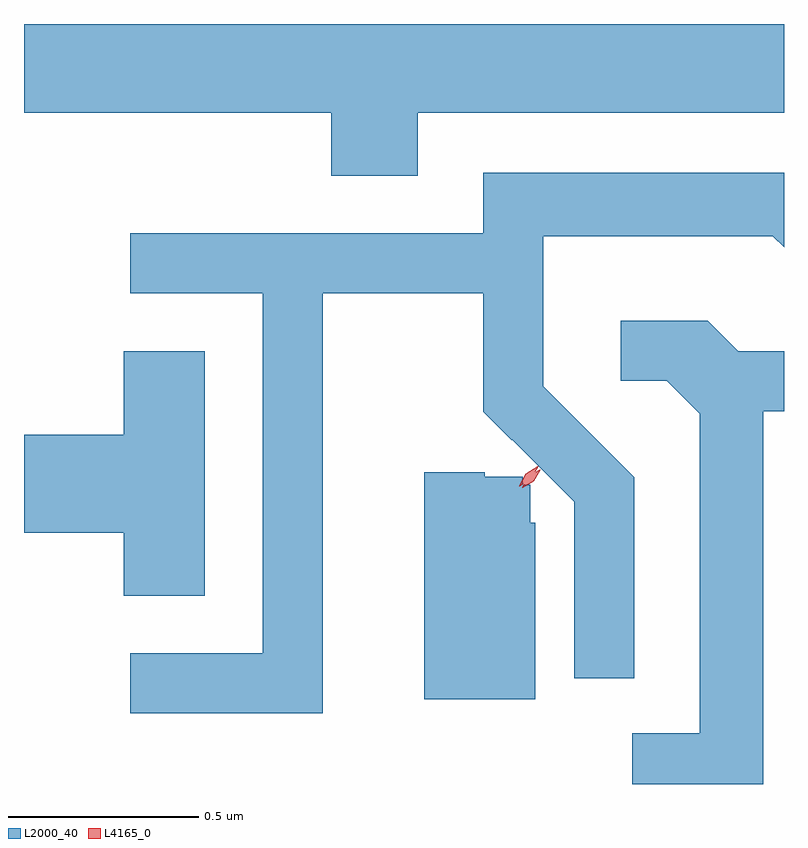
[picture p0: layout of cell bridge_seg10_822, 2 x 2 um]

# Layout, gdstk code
import gdstk
lib = gdstk.Library(unit=1e-6, precision=1e-09)
def P(c, l, *ps):  # polygons
    for p in ps: c.add(gdstk.Polygon(p, *l))
L2000_40 = (2000, 40)
L4165_0 = (4165, 0)

bridge_seg10_822 = lib.new_cell('bridge_seg10_822')
P(bridge_seg10_822, L2000_40, [(605.679,2153.876),(606.643,2153.876),(606.643,2154.11),(604.643,2154.11),(604.643,2153.876),(605.451,2153.876),(605.451,2153.711),(605.679,2153.711)],
  [(605.429,2153.401),(605.851,2153.401),(605.851,2153.089),(605.926,2153.014),(605.928,2153.016),(606.091,2152.853),(606.091,2152.388),(606.249,2152.388),(606.249,2152.917),(606.009,2153.157),(606.009,2153.551),(606.614,2153.551),(606.643,2153.522),(606.643,2153.719),(605.851,2153.719),(605.851,2153.559),(604.923,2153.559),(604.923,2153.401),(605.271,2153.401),(605.271,2152.454),(604.923,2152.454),(604.923,2152.296),(605.429,2152.296)],
  [(606.589,2153.091),(606.643,2153.091),(606.643,2153.249),(606.522,2153.249),(606.442,2153.329),(606.213,2153.329),(606.213,2153.171),(606.334,2153.171),(606.421,2153.084),(606.421,2152.244),(606.243,2152.244),(606.243,2152.11),(606.589,2152.11)],
  [(605.119,2153.249),(604.906,2153.249),(604.906,2153.029),(604.643,2153.029),(604.643,2152.771),(604.906,2152.771),(604.906,2152.606),(605.119,2152.606)],
  [(605.989,2152.697),(605.988,2152.697),(605.988,2152.797),(605.975,2152.797),(605.975,2152.897),(605.955,2152.897),(605.955,2152.918),(605.855,2152.918),(605.855,2152.931),(605.696,2152.931),(605.696,2152.333),(605.989,2152.333)])
P(bridge_seg10_822, L4165_0, [(605.946,2152.894),(605.946,2152.895),(605.964,2152.927),(605.995,2152.946),(605.996,2152.946),(605.996,2152.945),(605.978,2152.913),(605.947,2152.894)],
  [(605.954,2152.89),(605.954,2152.891),(605.971,2152.921),(606,2152.937),(606.001,2152.937),(606.001,2152.936),(605.985,2152.907),(605.955,2152.89)])

lib.write_gds('bridge_seg10_822.gds')
